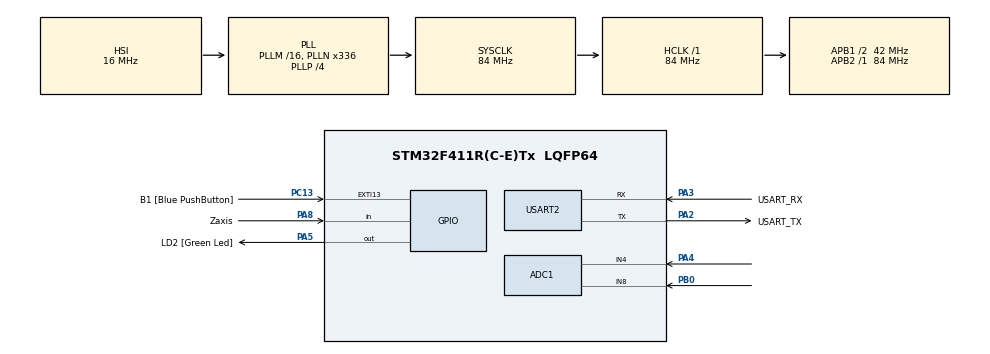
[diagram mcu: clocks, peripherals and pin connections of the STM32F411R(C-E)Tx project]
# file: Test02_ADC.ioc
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ADC1.Channel-2\#ChannelRegularConversion=ADC_CHANNEL_4
ADC1.Channel-3\#ChannelRegularConversion=ADC_CHANNEL_8
ADC1.DMAContinuousRequests=ENABLE
ADC1.DiscontinuousConvMode=ENABLE
ADC1.EOCSelection=ADC_EOC_SEQ_CONV
ADC1.ExternalTrigConv=ADC_EXTERNALTRIGCONV_T3_TRGO
ADC1.ExternalTrigConvEdge=ADC_EXTERNALTRIGCONVEDGE_FALLING
ADC1.NbrOfConversion=2
ADC1.NbrOfConversionFlag=1
ADC1.Rank-2\#ChannelRegularConversion=1
ADC1.Rank-3\#ChannelRegularConversion=2
ADC1.SamplingTime-2\#ChannelRegularConversion=ADC_SAMPLETIME_3CYCLES
ADC1.SamplingTime-3\#ChannelRegularConversion=ADC_SAMPLETIME_3CYCLES
ADC1.ScanConvMode=ENABLE
ADC1.master=1
Dma.ADC1.0.Direction=DMA_PERIPH_TO_MEMORY
Dma.ADC1.0.FIFOMode=DMA_FIFOMODE_DISABLE
Dma.ADC1.0.Instance=DMA2_Stream0
Dma.ADC1.0.MemDataAlignment=DMA_MDATAALIGN_HALFWORD
Dma.ADC1.0.MemInc=DMA_MINC_ENABLE
Dma.ADC1.0.Mode=DMA_CIRCULAR
Dma.ADC1.0.PeriphDataAlignment=DMA_PDATAALIGN_HALFWORD
Dma.ADC1.0.PeriphInc=DMA_PINC_DISABLE
Dma.ADC1.0.Priority=DMA_PRIORITY_LOW
Dma.Request0=ADC1
Mcu.Family=STM32F4
Mcu.Name=STM32F411R(C-E)Tx
Mcu.Package=LQFP64
NVIC.DMA2_Stream0_IRQn=true\:0\:0\:false\:false\:true\:false\:true\:true
NVIC.PriorityGroup=NVIC_PRIORITYGROUP_0
PA13.GPIO_Label=TMS
PA13.Mode=Serial_Wire
PA13.Signal=SYS_JTMS-SWDIO
PA14.GPIO_Label=TCK
PA14.Mode=Serial_Wire
PA14.Signal=SYS_JTCK-SWCLK
PA2.GPIO_Label=USART_TX
PA2.Mode=Asynchronous
PA2.Signal=USART2_TX
PA3.GPIO_Label=USART_RX
PA3.Mode=Asynchronous
PA3.Signal=USART2_RX
PA4.Signal=ADCx_IN4
PA5.GPIO_Label=LD2 [Green Led]
PA5.Signal=GPIO_Output
PA8.GPIO_Label=Zaxis
PA8.GPIO_PuPd=GPIO_PULLUP
PA8.Signal=GPIO_Input
PB0.Signal=ADCx_IN8
PB3.GPIO_Label=SWO
PB3.Signal=SYS_JTDO-SWO
PC13-ANTI_TAMP.GPIO_Label=B1 [Blue PushButton]
PC13-ANTI_TAMP.GPIO_ModeDefaultEXTI=GPIO_MODE_IT_FALLING
PC13-ANTI_TAMP.Signal=GPXTI13
PC14-OSC32_IN.Mode=LSE-External-Oscillator
PC14-OSC32_IN.Signal=RCC_OSC32_IN
PC15-OSC32_OUT.Mode=LSE-External-Oscillator
PC15-OSC32_OUT.Signal=RCC_OSC32_OUT
PH0\ -\ OSC_IN.Mode=HSE-External-Clock-Source
PH0\ -\ OSC_IN.Signal=RCC_OSC_IN
PH1\ -\ OSC_OUT.Mode=HSE-External-Clock-Source
PH1\ -\ OSC_OUT.Signal=RCC_OSC_OUT
ProjectManager.HeapSize=0x200
ProjectManager.StackSize=0x400
ProjectManager.TargetToolchain=STM32CubeIDE
RCC.48MHZClocksFreq_Value=84000000
RCC.AHBFreq_Value=84000000
RCC.APB1CLKDivider=RCC_HCLK_DIV2
RCC.APB1Freq_Value=42000000
RCC.APB1TimFreq_Value=84000000
RCC.APB2Freq_Value=84000000
RCC.APB2TimFreq_Value=84000000
RCC.CortexFreq_Value=84000000
RCC.FLatency-AdvancedSettings=FLASH_LATENCY_2
RCC.HCLKFreq_Value=84000000
RCC.HSE_VALUE=8000000
RCC.HSI_VALUE=16000000
RCC.PLLN=336
RCC.PLLP=RCC_PLLP_DIV4
RCC.SYSCLKFreq_VALUE=84000000
RCC.SYSCLKSource=RCC_SYSCLKSOURCE_PLLCLK
RCC.VCOOutputFreq_Value=336000000
SH.ADCx_IN4.0=ADC1_IN4,IN4
SH.ADCx_IN8.0=ADC1_IN8,IN8
TIM3.Period=5000-1
TIM3.Prescaler=8400-1
TIM3.TIM_MasterOutputTrigger=TIM_TRGO_UPDATE
USART2.VirtualMode=VM_ASYNC
VP_TIM3_VS_ClockSourceINT.Mode=Internal
board=NUCLEO-F411RE

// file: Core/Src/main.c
/* USER CODE BEGIN Header */
/**
  ******************************************************************************
  * @file           : main.c
  * @brief          : Main program body
  ******************************************************************************
  * @attention
  *
  * Copyright (c) 2023 STMicroelectronics.
  * All rights reserved.
  *
  * This software is licensed under terms that can be found in the LICENSE file
  * in the root directory of this software component.
  * If no LICENSE file comes with this software, it is provided AS-IS.
  *
  ******************************************************************************
  */
/* USER CODE END Header */
#include "main.h"

ADC_HandleTypeDef hadc1;
DMA_HandleTypeDef hdma_adc1;

TIM_HandleTypeDef htim3;

UART_HandleTypeDef huart2;

/* USER CODE BEGIN PV */
#include "../../../myLib/myLib.c"
/* USER CODE END PV */

void SystemClock_Config(void);
static void MX_GPIO_Init(void);
static void MX_DMA_Init(void);
static void MX_USART2_UART_Init(void);
static void MX_ADC1_Init(void);
static void MX_TIM3_Init(void);

/* USER CODE BEGIN 0 */
void myDelay(int ms)
{
	for(int j=0;j<ms;j++)
		for(int i=0;i<1000;i++)
			noOp();
}
int GetAdcValue()
{
	HAL_ADC_Start(&hadc1); //start sampling
	HAL_ADC_PollForConversion(&hadc1, 100); //wait
	int val = HAL_ADC_GetValue(&hadc1); //get
	return val;
}
short int dValue[2]; //char(1) short(2) int(4) long(4)
int xValue = -1;
int yValue = -1;
int n = 0;
void noOp() {}
void HAL_ADC_ConvCpltCallback(ADC_HandleTypeDef *hadc)
{
//	int Value = HAL_ADC_GetValue(&hadc1); //get
//	if(n == 0) {xValue = Value; n++;}
//	else
//	{
//		yValue = Value; n = 0;
//		printf("(intr)X Value : %d\r\n", xValue);
//		printf("(intr)Y Value : %d\r\n", yValue);
//		printf("(intr)Z Value : %d\r\n\n", HAL_GPIO_ReadPin(Zaxis_GPIO_Port, Zaxis_Pin));
//	}
//	myDelay(1000); //HAL_Delay(500);
	//HAL_ADC_Start_IT(&hadc1);
}
/* USER CODE END 0 */

int main(void)
{

  /* MCU Configuration--------------------------------------------------------*/

  /* Reset of all peripherals, Initializes the Flash interface and the Systick. */
  HAL_Init();

  /* Configure the system clock */
  SystemClock_Config();

  /* Initialize all configured peripherals */
  MX_GPIO_Init();
  MX_DMA_Init();
  MX_USART2_UART_Init();
  MX_ADC1_Init();
  MX_TIM3_Init();
  /* USER CODE BEGIN 2 */

  printf("\033[1J\033[1;1HProgram Restart....\r\n");

  HAL_TIM_Base_Start(&htim3);
//
//  htim2.Instance->CNT = 0;
//  for(int i=0;i<100;i++) noOp();
//  volatile int tt = htim2.Instance->CNT;
//
//  printf("noOp function calling time : %d\r\n", tt);

  //HAL_ADC_Start_IT(&hadc1);
  HAL_ADC_Start_DMA(&hadc1, (int *)dValue, 2);
  printf("ADC DMA Started....\r\n");

  /* USER CODE END 2 */

  /* Infinite loop */
  while (1)
  {

    /* USER CODE BEGIN 3 */
	printf("X Value : %d\r\n", dValue[0]);
    printf("Y Value : %d\r\n", dValue[1]);
    printf("Z Value : %d\r\n\n", HAL_GPIO_ReadPin(Zaxis_GPIO_Port, Zaxis_Pin));
    HAL_Delay(500);

  }
  /* USER CODE END 3 */
}

void SystemClock_Config(void)
{
  RCC_OscInitTypeDef RCC_OscInitStruct = {0};
  RCC_ClkInitTypeDef RCC_ClkInitStruct = {0};

  /** Configure the main internal regulator output voltage
  */
  __HAL_RCC_PWR_CLK_ENABLE();
  __HAL_PWR_VOLTAGESCALING_CONFIG(PWR_REGULATOR_VOLTAGE_SCALE1);

  /** Initializes the RCC Oscillators according to the specified parameters
  * in the RCC_OscInitTypeDef structure.
  */
  RCC_OscInitStruct.OscillatorType = RCC_OSCILLATORTYPE_HSI;
  RCC_OscInitStruct.HSIState = RCC_HSI_ON;
  RCC_OscInitStruct.HSICalibrationValue = RCC_HSICALIBRATION_DEFAULT;
  RCC_OscInitStruct.PLL.PLLState = RCC_PLL_ON;
  RCC_OscInitStruct.PLL.PLLSource = RCC_PLLSOURCE_HSI;
  RCC_OscInitStruct.PLL.PLLM = 16;
  RCC_OscInitStruct.PLL.PLLN = 336;
  RCC_OscInitStruct.PLL.PLLP = RCC_PLLP_DIV4;
  RCC_OscInitStruct.PLL.PLLQ = 4;
  if (HAL_RCC_OscConfig(&RCC_OscInitStruct) != HAL_OK)
  {
    Error_Handler();
  }

  /** Initializes the CPU, AHB and APB buses clocks
  */
  RCC_ClkInitStruct.ClockType = RCC_CLOCKTYPE_HCLK|RCC_CLOCKTYPE_SYSCLK
                              |RCC_CLOCKTYPE_PCLK1|RCC_CLOCKTYPE_PCLK2;
  RCC_ClkInitStruct.SYSCLKSource = RCC_SYSCLKSOURCE_PLLCLK;
  RCC_ClkInitStruct.AHBCLKDivider = RCC_SYSCLK_DIV1;
  RCC_ClkInitStruct.APB1CLKDivider = RCC_HCLK_DIV2;
  RCC_ClkInitStruct.APB2CLKDivider = RCC_HCLK_DIV1;

  if (HAL_RCC_ClockConfig(&RCC_ClkInitStruct, FLASH_LATENCY_2) != HAL_OK)
  {
    Error_Handler();
  }
}

static void MX_ADC1_Init(void)
{

  ADC_ChannelConfTypeDef sConfig = {0};

  /** Configure the global features of the ADC (Clock, Resolution, Data Alignment and number of conversion)
  */
  hadc1.Instance = ADC1;
  hadc1.Init.ClockPrescaler = ADC_CLOCK_SYNC_PCLK_DIV4;
  hadc1.Init.Resolution = ADC_RESOLUTION_12B;
  hadc1.Init.ScanConvMode = ENABLE;
  hadc1.Init.ContinuousConvMode = DISABLE;
  hadc1.Init.DiscontinuousConvMode = ENABLE;
  hadc1.Init.NbrOfDiscConversion = 1;
  hadc1.Init.ExternalTrigConvEdge = ADC_EXTERNALTRIGCONVEDGE_FALLING;
  hadc1.Init.ExternalTrigConv = ADC_EXTERNALTRIGCONV_T3_TRGO;
  hadc1.Init.DataAlign = ADC_DATAALIGN_RIGHT;
  hadc1.Init.NbrOfConversion = 2;
  hadc1.Init.DMAContinuousRequests = ENABLE;
  hadc1.Init.EOCSelection = ADC_EOC_SEQ_CONV;
  if (HAL_ADC_Init(&hadc1) != HAL_OK)
  {
    Error_Handler();
  }

  /** Configure for the selected ADC regular channel its corresponding rank in the sequencer and its sample time.
  */
  sConfig.Channel = ADC_CHANNEL_4;
  sConfig.Rank = 1;
  sConfig.SamplingTime = ADC_SAMPLETIME_3CYCLES;
  if (HAL_ADC_ConfigChannel(&hadc1, &sConfig) != HAL_OK)
  {
    Error_Handler();
  }

  /** Configure for the selected ADC regular channel its corresponding rank in the sequencer and its sample time.
  */
  sConfig.Channel = ADC_CHANNEL_8;
  sConfig.Rank = 2;
  if (HAL_ADC_ConfigChannel(&hadc1, &sConfig) != HAL_OK)
  {
    Error_Handler();
  }

}

static void MX_TIM3_Init(void)
{

  TIM_ClockConfigTypeDef sClockSourceConfig = {0};
  TIM_MasterConfigTypeDef sMasterConfig = {0};

  htim3.Instance = TIM3;
  htim3.Init.Prescaler = 8400-1;
  htim3.Init.CounterMode = TIM_COUNTERMODE_UP;
  htim3.Init.Period = 5000-1;
  htim3.Init.ClockDivision = TIM_CLOCKDIVISION_DIV1;
  htim3.Init.AutoReloadPreload = TIM_AUTORELOAD_PRELOAD_DISABLE;
  if (HAL_TIM_Base_Init(&htim3) != HAL_OK)
  {
    Error_Handler();
  }
  sClockSourceConfig.ClockSource = TIM_CLOCKSOURCE_INTERNAL;
  if (HAL_TIM_ConfigClockSource(&htim3, &sClockSourceConfig) != HAL_OK)
  {
    Error_Handler();
  }
  sMasterConfig.MasterOutputTrigger = TIM_TRGO_UPDATE;
  sMasterConfig.MasterSlaveMode = TIM_MASTERSLAVEMODE_DISABLE;
  if (HAL_TIMEx_MasterConfigSynchronization(&htim3, &sMasterConfig) != HAL_OK)
  {
    Error_Handler();
  }

}

static void MX_USART2_UART_Init(void)
{

  huart2.Instance = USART2;
  huart2.Init.BaudRate = 115200;
  huart2.Init.WordLength = UART_WORDLENGTH_8B;
  huart2.Init.StopBits = UART_STOPBITS_1;
  huart2.Init.Parity = UART_PARITY_NONE;
  huart2.Init.Mode = UART_MODE_TX_RX;
  huart2.Init.HwFlowCtl = UART_HWCONTROL_NONE;
  huart2.Init.OverSampling = UART_OVERSAMPLING_16;
  if (HAL_UART_Init(&huart2) != HAL_OK)
  {
    Error_Handler();
  }

}

static void MX_DMA_Init(void)
{

  /* DMA controller clock enable */
  __HAL_RCC_DMA2_CLK_ENABLE();

  /* DMA interrupt init */
  /* DMA2_Stream0_IRQn interrupt configuration */
  HAL_NVIC_SetPriority(DMA2_Stream0_IRQn, 0, 0);
  HAL_NVIC_EnableIRQ(DMA2_Stream0_IRQn);

}

static void MX_GPIO_Init(void)
{
  GPIO_InitTypeDef GPIO_InitStruct = {0};

  /* GPIO Ports Clock Enable */
  __HAL_RCC_GPIOC_CLK_ENABLE();
  __HAL_RCC_GPIOH_CLK_ENABLE();
  __HAL_RCC_GPIOA_CLK_ENABLE();
  __HAL_RCC_GPIOB_CLK_ENABLE();

  /*Configure GPIO pin Output Level */
  HAL_GPIO_WritePin(LD2_GPIO_Port, LD2_Pin, GPIO_PIN_RESET);

  /*Configure GPIO pin : B1_Pin */
  GPIO_InitStruct.Pin = B1_Pin;
  GPIO_InitStruct.Mode = GPIO_MODE_IT_FALLING;
  GPIO_InitStruct.Pull = GPIO_NOPULL;
  HAL_GPIO_Init(B1_GPIO_Port, &GPIO_InitStruct);

  /*Configure GPIO pin : LD2_Pin */
  GPIO_InitStruct.Pin = LD2_Pin;
  GPIO_InitStruct.Mode = GPIO_MODE_OUTPUT_PP;
  GPIO_InitStruct.Pull = GPIO_NOPULL;
  GPIO_InitStruct.Speed = GPIO_SPEED_FREQ_LOW;
  HAL_GPIO_Init(LD2_GPIO_Port, &GPIO_InitStruct);

  /*Configure GPIO pin : Zaxis_Pin */
  GPIO_InitStruct.Pin = Zaxis_Pin;
  GPIO_InitStruct.Mode = GPIO_MODE_INPUT;
  GPIO_InitStruct.Pull = GPIO_PULLUP;
  HAL_GPIO_Init(Zaxis_GPIO_Port, &GPIO_InitStruct);

}

void Error_Handler(void)
{
  __disable_irq();
  while (1)
  {
  }
}
